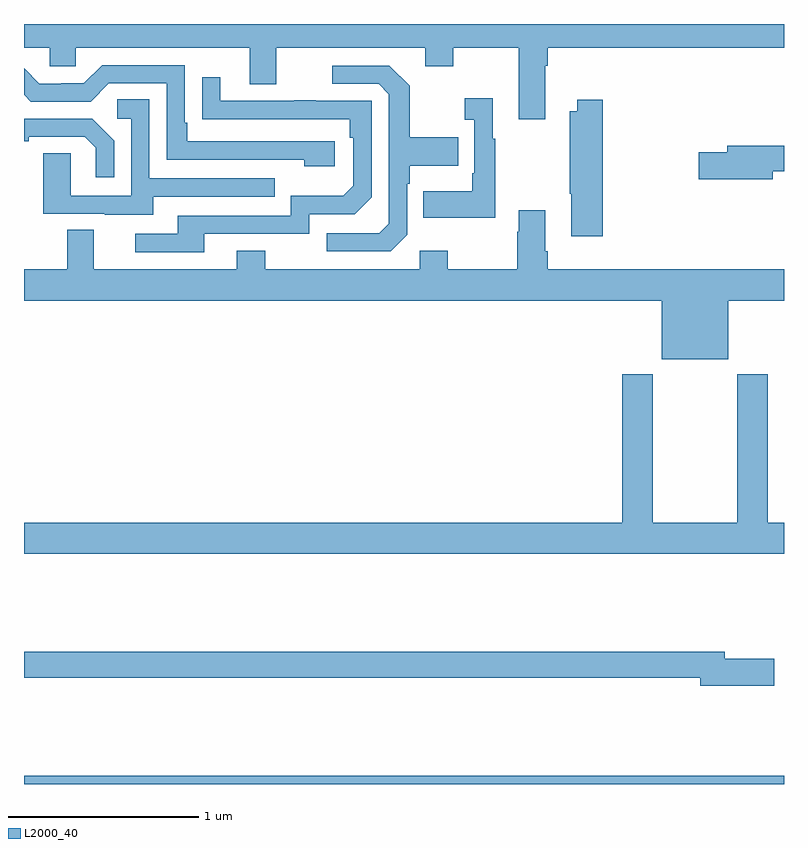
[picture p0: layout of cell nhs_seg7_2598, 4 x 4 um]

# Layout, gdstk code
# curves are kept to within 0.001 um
import gdstk
lib = gdstk.Library(unit=1e-6, precision=1e-09)
def R(c, l, rs):  # rectangles x0, y0, x1, y1
    for r in rs: c.add(gdstk.rectangle(r[:2], r[2:], *l))
def P(c, l, *ps):  # polygons
    for p in ps: c.add(gdstk.Polygon(p, *l))
L2000_40 = (2000, 40)

nhs_seg7_2598 = lib.new_cell('nhs_seg7_2598')
R(nhs_seg7_2598, L2000_40, [(279,1070,283,1070.044)])
P(nhs_seg7_2598, L2000_40, [(281.743,1073.78),(281.756,1073.78),(281.756,1073.876),(283,1073.876),(283,1074),(279,1074),(279,1073.876),(279.135,1073.876),(279.135,1073.778),(279.273,1073.778),(279.273,1073.876),(280.187,1073.876),(280.187,1073.682),(280.327,1073.682),(280.327,1073.876),(281.111,1073.876),(281.111,1073.777),(281.259,1073.777),(281.259,1073.876),(281.603,1073.876),(281.603,1073.499),(281.743,1073.499)],
  [(280.636,1073.382),(279.859,1073.382),(279.859,1073.479),(279.846,1073.479),(279.846,1073.784),(279.411,1073.784),(279.315,1073.688),(279.197,1073.688),(279.197,1073.685),(279.081,1073.685),(279,1073.766),(279,1073.628),(279.036,1073.592),(279.351,1073.592),(279.447,1073.688),(279.75,1073.688),(279.75,1073.286),(280.475,1073.286),(280.475,1073.252),(280.636,1073.252)],
  [(281.016,1072.89),(281.016,1073.159),(281.029,1073.159),(281.029,1073.255),(281.285,1073.255),(281.285,1073.403),(281.029,1073.403),(281.029,1073.675),(280.923,1073.781),(280.623,1073.781),(280.623,1073.685),(280.866,1073.685),(280.92,1073.631),(280.92,1072.95),(280.869,1072.899),(280.593,1072.899),(280.593,1072.803),(280.929,1072.803)],
  [(279.949,1072.896),(280.5,1072.896),(280.5,1072.998),(280.74,1072.998),(280.83,1073.088),(280.83,1073.595),(280.535,1073.595),(280.535,1073.6),(280.423,1073.6),(280.423,1073.595),(280.033,1073.595),(280.033,1073.719),(279.937,1073.719),(279.937,1073.5),(280.714,1073.499),(280.714,1073.402),(280.734,1073.402),(280.734,1073.148),(280.681,1073.095),(280.404,1073.095),(280.404,1072.992),(279.809,1072.992),(279.809,1072.896),(279.585,1072.896),(279.585,1072.8),(279.949,1072.8)],
  [(281.479,1073.395),(281.467,1073.395),(281.467,1073.608),(281.319,1073.608),(281.319,1073.495),(281.37,1073.495),(281.37,1073.215),(281.358,1073.215),(281.358,1073.119),(281.101,1073.119),(281.101,1072.979),(281.479,1072.979)],
  [(279.679,1073.091),(280.319,1073.091),(280.319,1073.187),(279.66,1073.187),(279.66,1073.603),(279.492,1073.603),(279.492,1073.502),(279.564,1073.502),(279.564,1073.097),(279.246,1073.097),(279.246,1073.321),(279.101,1073.321),(279.101,1073.001),(279.425,1073.001),(279.425,1072.997),(279.679,1072.997)],
  [(282.047,1073.602),(281.912,1073.602),(281.912,1073.542),(281.872,1073.542),(281.872,1073.107),(281.879,1073.107),(281.879,1072.884),(282.047,1072.884)],
  [(279.474,1073.386),(279.358,1073.502),(279,1073.502),(279,1073.384),(279.025,1073.384),(279.025,1073.406),(279.32,1073.406),(279.377,1073.349),(279.377,1073.193),(279.474,1073.193)],
  [(282.94,1073.224),(283,1073.224),(283,1073.36),(282.701,1073.36),(282.701,1073.324),(282.552,1073.324),(282.552,1073.182),(282.94,1073.182)],
  [(282.706,1072.544),(283,1072.544),(283,1072.708),(281.756,1072.708),(281.756,1072.804),(281.743,1072.804),(281.743,1073.02),(281.603,1073.02),(281.603,1072.907),(281.596,1072.907),(281.596,1072.708),(281.229,1072.708),(281.229,1072.807),(281.082,1072.807),(281.082,1072.708),(280.269,1072.708),(280.269,1072.807),(280.121,1072.807),(280.121,1072.708),(279.367,1072.708),(279.367,1072.916),(279.227,1072.916),(279.227,1072.708),(279,1072.708),(279,1072.544),(282.356,1072.544),(282.356,1072.235),(282.706,1072.235)],
  [(283,1071.376),(282.914,1071.376),(282.914,1072.156),(282.754,1072.156),(282.754,1071.376),(282.309,1071.376),(282.309,1072.156),(282.149,1072.156),(282.149,1071.376),(279,1071.376),(279,1071.212),(283,1071.212)],
  [(282.949,1070.66),(282.688,1070.66),(282.688,1070.696),(279,1070.696),(279,1070.56),(282.56,1070.56),(282.56,1070.518),(282.949,1070.518)])

lib.write_gds('nhs_seg7_2598.gds')
